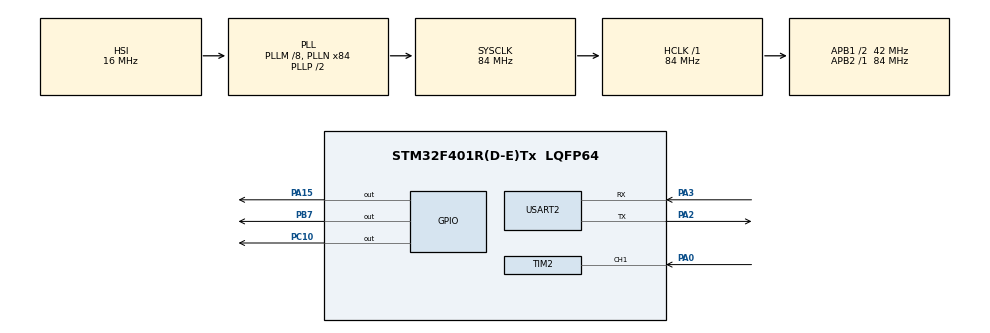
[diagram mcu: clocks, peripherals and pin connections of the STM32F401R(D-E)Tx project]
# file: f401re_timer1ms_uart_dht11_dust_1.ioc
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Mcu.Family=STM32F4
Mcu.Name=STM32F401R(D-E)Tx
Mcu.Package=LQFP64
NVIC.PriorityGroup=NVIC_PRIORITYGROUP_4
NVIC.TIM2_IRQn=true\:0\:0\:false\:false\:true\:true\:true\:true
PA0-WKUP.Signal=S_TIM2_CH1_ETR
PA15.GPIO_PuPd=GPIO_PULLUP
PA15.Signal=GPIO_Output
PA2.Mode=Asynchronous
PA2.Signal=USART2_TX
PA3.Mode=Asynchronous
PA3.Signal=USART2_RX
PB7.Signal=GPIO_Output
PC10.Signal=GPIO_Output
ProjectManager.HeapSize=0x200
ProjectManager.StackSize=0x400
ProjectManager.TargetToolchain=STM32CubeIDE
RCC.48MHZClocksFreq_Value=42000000
RCC.AHBFreq_Value=84000000
RCC.APB1CLKDivider=RCC_HCLK_DIV2
RCC.APB1Freq_Value=42000000
RCC.APB1TimFreq_Value=84000000
RCC.APB2Freq_Value=84000000
RCC.APB2TimFreq_Value=84000000
RCC.CortexFreq_Value=84000000
RCC.HCLKFreq_Value=84000000
RCC.HSE_VALUE=25000000
RCC.HSI_VALUE=16000000
RCC.LSE_VALUE=32768
RCC.PLLM=8
RCC.PLLN=84
RCC.SYSCLKFreq_VALUE=84000000
RCC.SYSCLKSource=RCC_SYSCLKSOURCE_PLLCLK
RCC.VCOOutputFreq_Value=168000000
SH.S_TIM2_CH1_ETR.0=TIM2_CH1,Input_Capture1_from_TI1
TIM2.AutoReloadPreload=TIM_AUTORELOAD_PRELOAD_ENABLE
TIM2.Channel-Input_Capture1_from_TI1=TIM_CHANNEL_1
TIM2.ICPolarity_CH1=TIM_INPUTCHANNELPOLARITY_BOTHEDGE
TIM2.Period=999
TIM2.Prescaler=83
USART2.VirtualMode=VM_ASYNC
VP_TIM2_VS_ClockSourceINT.Mode=Internal
board=custom

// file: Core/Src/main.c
/* USER CODE BEGIN Header */
/**
  ******************************************************************************
  * @file           : main.c
  * @brief          : Main program body
  ******************************************************************************
  * @attention
  *
  * Copyright (c) 2024 STMicroelectronics.
  * All rights reserved.
  *
  * This software is licensed under terms that can be found in the LICENSE file
  * in the root directory of this software component.
  * If no LICENSE file comes with this software, it is provided AS-IS.
  *
  ******************************************************************************
  */
/* USER CODE END Header */
#include "main.h"

/* USER CODE BEGIN Includes */
#define LD2_GPIO_Port GPIOC
#define LD2_Pin GPIO_PIN_10

#define DHT11_PORT GPIOA
#define DHT11_PIN GPIO_PIN_15

#define DUST_PWM_PERIOD  100 // from manufacture  (100ms)
#define K_FACTOR 1.0			//from manufacture
/* USER CODE END Includes */

TIM_HandleTypeDef htim2;

UART_HandleTypeDef huart2;

void SystemClock_Config(void);
static void MX_GPIO_Init(void);
static void MX_TIM2_Init(void);
static void MX_USART2_UART_Init(void);
/* USER CODE BEGIN PFP */
/*~timer*/
static uint16_t vSchTask_Cnt = 0;
// TIM2 주기적 인터럽트 콜백
void HAL_TIM_PeriodElapsedCallback(TIM_HandleTypeDef *htim){
	if(htim->Instance == TIM2){
		vSchTask_Cnt++;
		if(vSchTask_Cnt == 1000){
			vSchTask_Cnt = 0;
			HAL_GPIO_TogglePin(LD2_GPIO_Port, LD2_Pin);
		}

	}
} //timer

/* uart*/
char msg[60];// 온습도 메시지 저장 버퍼
char msg2[60];
char msg3[60];
//char msg4[50];
//char msg5[50];
//char msg6[50];
//char msg7[50];
char msg8[50];
// UART 메시지 전송 함수
void send_uart_msg(char *msg)
{
	HAL_UART_Transmit(&huart2,(uint8_t*)msg, strlen(msg), HAL_MAX_DELAY);
}
/* dht11*/
/* DHT11 센서 관련 변수 */
uint8_t Rh_Byte1, Rh_Byte2, Temp_Byte1, Temp_Byte2;
uint16_t SUM, RH, TEMP;

float Temperature = 0;
float Humidity = 0;
uint8_t Presence = 0;
// GPIO 핀을 출력으로 설정
void set_pin_output (GPIO_TypeDef *GPIOx, uint16_t GPIO_Pin)
{
	GPIO_InitTypeDef GPIO_InitStruct = {0};
	GPIO_InitStruct.Pin = GPIO_Pin;
	GPIO_InitStruct.Mode = GPIO_MODE_OUTPUT_PP;
	GPIO_InitStruct.Speed = GPIO_SPEED_FREQ_LOW;
	HAL_GPIO_Init(GPIOx, &GPIO_InitStruct);
}
// GPIO 핀을 입력으로 설정
void set_pin_input (GPIO_TypeDef *GPIOx, uint16_t GPIO_Pin)
{
	GPIO_InitTypeDef GPIO_InitStruct = {0};
	GPIO_InitStruct.Pin = GPIO_Pin;
	GPIO_InitStruct.Mode = GPIO_MODE_INPUT;
	GPIO_InitStruct.Pull = GPIO_PULLUP;
	HAL_GPIO_Init(GPIOx, &GPIO_InitStruct);
}
// 마이크로초 단위 딜레이 함수
void delay_us (uint16_t us)
{
	__HAL_TIM_SET_COUNTER(&htim2,0);
	while(__HAL_TIM_GET_COUNTER(&htim2) <us);
}

/*	DHT11 start signal*/
/* DHT11 센서 시작 신호 전송 */
void dht11_start(void)
{
	set_pin_output(DHT11_PORT, DHT11_PIN);

	HAL_GPIO_WritePin(DHT11_PORT, DHT11_PIN,0);

//	delay_us(18000); //wait for 18ms
	  HAL_Delay(18);

	HAL_GPIO_WritePin(DHT11_PORT, DHT11_PIN,1);

	delay_us(20);
	set_pin_input(DHT11_PORT, DHT11_PIN);
}

/*	DHT11 response */
/* DHT11 센서 응답 확인 */
uint8_t dht11_check_response(void)
{
	uint8_t resp =0;
	delay_us(40);
	if(!(HAL_GPIO_ReadPin(DHT11_PORT,DHT11_PIN)))
	{
		delay_us(80);
		if((HAL_GPIO_ReadPin(DHT11_PORT,DHT11_PIN)))
			resp =1;
		else
			resp = -1; //255
	}
	while(HAL_GPIO_ReadPin(DHT11_PORT,DHT11_PIN));

	return resp;
}
/* DHT11 데이터 읽기 */
uint8_t dht11_read(void)
{
    uint8_t i, j;
    for (j = 0; j < 8; j++)
    {
        uint32_t timeout = 10000;
        while (!(HAL_GPIO_ReadPin(DHT11_PORT, DHT11_PIN)) && timeout--)
            ; //
        if (timeout == 0) return 0xFF; //

        delay_us(40);
        if (!(HAL_GPIO_ReadPin(DHT11_PORT, DHT11_PIN)))
        {
            i &= ~(1 << (7 - j)); // 0 기록
        }
        else
        {
            i |= (1 << (7 - j));
            timeout = 10000;
            while ((HAL_GPIO_ReadPin(DHT11_PORT, DHT11_PIN)) && timeout--)
                ;
            if (timeout == 0) return 0xFF;
        }
    }
    return i;
} // DHT11 sensor

/*dust sensor */
uint32_t IC_Val1 = 0;
uint32_t IC_Val2 =0;

float frequency =0;
float dutyCycle =0;

uint32_t pwm_start = 0;
uint32_t pwm_end = 0;
uint32_t pulse_width = 0;
/* 먼지 센서용 PWM 값 처리 */
HAL_TIM_IC_CaptureCallback(TIM_HandleTypeDef *htim)
{
	/*if interrupt source is channel1*/
#if 0
	if(htim->Channel == HAL_TIM_ACTIVE_CHANNEL_1)
	{
		IC_Val1 = HAL_TIM_ReadCapturedValue(htim, TIM_CHANNEL_1);

		TIM2->CNT =0;
	}
#elif 0  /* pin 1ea : check only two rising edge for period width(T)*/
		//but dust sensor formular need low state  time
    if (htim->Channel == HAL_TIM_ACTIVE_CHANNEL_1)
    {

        if (pwm_start == 0)
        {
            pwm_start = HAL_TIM_ReadCapturedValue(htim, TIM_CHANNEL_1);
        }
        else
        {

            pwm_end = HAL_TIM_ReadCapturedValue(htim, TIM_CHANNEL_1);

            if (pwm_end > pwm_start)
            {
                pulse_width = pwm_end - pwm_start;
            }
            else
            {

                pulse_width = (htim->Init.Period - pwm_start) + pwm_end;
            }

            pwm_start = 0;
        }
    }
	/*if interrupt source is channel2*/
	if(htim->Channel == HAL_TIM_ACTIVE_CHANNEL_2) //
	{
		IC_Val2 = HAL_TIM_ReadCapturedValue(htim,TIM_CHANNEL_2);
		dutyCycle= (float)IC_Val2/(float)IC_Val1 *100;
		frequency = 1000000/ (float)IC_Val1;
	}
#elif 0 /*pin 2ea : check rising edge and falling edge for low state time*/
    static uint32_t falling_edge =0;
    static uint32_t rising_edge =0;

    if(htim->Channel == HAL_TIM_ACTIVE_CHANNEL_1)
    {
    	rising_edge = HAL_TIM_ReadCapturedValue(htim,TIM_CHANNEL_1);

    }
    else if(htim->Channel == HAL_TIM_ACTIVE_CHANNEL_2)
    {
    	falling_edge = HAL_TIM_ReadCapturedValue(htim,TIM_CHANNEL_2);

    	if(falling_edge> rising_edge)
    	{
    		pulse_width = falling_edge -rising_edge;
    		//tiem of low->high , this is  low state duration
    	}
    	else
    	{
    		pulse_width = (htim->Init.Period - rising_edge) + falling_edge;
    	}

    }
#elif 1 /*pin 1ea : check rising, falling edge*/
    static uint32_t last_capture =0;
    static uint8_t is_high_edge =0;

    if(htim->Channel == HAL_TIM_ACTIVE_CHANNEL_1)
    {
    	uint32_t current_capture = HAL_TIM_ReadCapturedValue(htim,TIM_CHANNEL_1);
    	if(is_high_edge ==0 )
    	{
    		/*check falling edge*/
    		is_high_edge =1;
    		if(current_capture >= last_capture)
    		{
    			pulse_width = current_capture - last_capture; //low ?��?��
    		}
    		else
    		{
    			//timer overflow process
    			pulse_width = (htim->Init.Period - last_capture) + current_capture;
    		}
//    		snprintf(msg8, sizeof(msg8), "Low Duration: %d us\r\n", (int)pulse_width);
//    		send_uart_msg(msg8);
    	}
    	else
    	{
    		/*check  uprising edge*/
    		is_high_edge =0;
    		//compare current rising edge with next falling edge
    	}
    	last_capture = current_capture;
    }
#endif

}
/* 먼지 농도 계산 함수 */
float calculate_dust_density(uint32_t low_duration, uint32_t period, float k_factor)
{
	float ratio = (float)low_duration /  (float)period;
	// 200/100ms
	float dust_density = k_factor * ratio;

	return dust_density;
}
//dust sensor
/* USER CODE END PFP */

int main(void)
{

  /* MCU Configuration--------------------------------------------------------*/

  /* Reset of all peripherals, Initializes the Flash interface and the Systick. */
  HAL_Init();

  /* Configure the system clock */
  SystemClock_Config();

  /* Initialize all configured peripherals */
  MX_GPIO_Init();
  MX_TIM2_Init();
  MX_USART2_UART_Init();
  /* USER CODE BEGIN 2 */
  HAL_TIM_Base_Start_IT(&htim2);
  HAL_TIM_IC_Start_IT(&htim2, TIM_CHANNEL_1);
  HAL_TIM_IC_Start_IT(&htim2, TIM_CHANNEL_2);

   //send_uart_msg("init1\r\n");

  /* USER CODE END 2 */

  /* Infinite loop */
  /* USER CODE BEGIN WHILE */
  while (1)
  {

	  dht11_start();// DHT11 센서 시작

	  Presence = dht11_check_response();// DHT11 응답 확인

		Rh_Byte1 = dht11_read();// 습도 데이터 읽기
		Rh_Byte2 = dht11_read();
		Temp_Byte1 = dht11_read();// 온도 데이터 읽기
		Temp_Byte2 = dht11_read();
		SUM = dht11_read();// 데이터 합계 읽기

		RH = (int)Rh_Byte1;
		TEMP = (int)Temp_Byte1;

		// UART로 데이터 전송
		// snprintf(msg, sizeof(msg), "RH = %d %%\r\n", RH);
		snprintf(msg, sizeof(msg), "%d,", RH);
		send_uart_msg(msg);
		//snprintf(msg2, sizeof(msg2), "temp = %d `C%%\r\n", TEMP);
		snprintf(msg2, sizeof(msg2), "%d,", TEMP);
		send_uart_msg(msg2);

		// 먼지 농도 계산 및 UART 전송
		/*pwm ic*/
        float dust_concentration_g_m3 = calculate_dust_density(pulse_width, DUST_PWM_PERIOD, K_FACTOR);
        float dust_concentration_ug_m3 = dust_concentration_g_m3 ;// convert g/m^3 to ug/m^3
        //snprintf(msg3, sizeof(msg3), "Dust Density : %.2f ug/m^3\r\n", dust_concentration_ug_m3);
        snprintf(msg3, sizeof(msg3), "%.2f\r\n", dust_concentration_ug_m3);
        send_uart_msg(msg3);

        HAL_Delay(2000);

    /* USER CODE END WHILE */

  }
}

void SystemClock_Config(void)
{
  RCC_OscInitTypeDef RCC_OscInitStruct = {0};
  RCC_ClkInitTypeDef RCC_ClkInitStruct = {0};

  /** Configure the main internal regulator output voltage
  */
  __HAL_RCC_PWR_CLK_ENABLE();
  __HAL_PWR_VOLTAGESCALING_CONFIG(PWR_REGULATOR_VOLTAGE_SCALE2);

  /** Initializes the RCC Oscillators according to the specified parameters
  * in the RCC_OscInitTypeDef structure.
  */
  RCC_OscInitStruct.OscillatorType = RCC_OSCILLATORTYPE_HSI;
  RCC_OscInitStruct.HSIState = RCC_HSI_ON;
  RCC_OscInitStruct.HSICalibrationValue = RCC_HSICALIBRATION_DEFAULT;
  RCC_OscInitStruct.PLL.PLLState = RCC_PLL_ON;
  RCC_OscInitStruct.PLL.PLLSource = RCC_PLLSOURCE_HSI;
  RCC_OscInitStruct.PLL.PLLM = 8;
  RCC_OscInitStruct.PLL.PLLN = 84;
  RCC_OscInitStruct.PLL.PLLP = RCC_PLLP_DIV2;
  RCC_OscInitStruct.PLL.PLLQ = 4;
  if (HAL_RCC_OscConfig(&RCC_OscInitStruct) != HAL_OK)
  {
    Error_Handler();
  }

  /** Initializes the CPU, AHB and APB buses clocks
  */
  RCC_ClkInitStruct.ClockType = RCC_CLOCKTYPE_HCLK|RCC_CLOCKTYPE_SYSCLK
                              |RCC_CLOCKTYPE_PCLK1|RCC_CLOCKTYPE_PCLK2;
  RCC_ClkInitStruct.SYSCLKSource = RCC_SYSCLKSOURCE_PLLCLK;
  RCC_ClkInitStruct.AHBCLKDivider = RCC_SYSCLK_DIV1;
  RCC_ClkInitStruct.APB1CLKDivider = RCC_HCLK_DIV2;
  RCC_ClkInitStruct.APB2CLKDivider = RCC_HCLK_DIV1;

  if (HAL_RCC_ClockConfig(&RCC_ClkInitStruct, FLASH_LATENCY_2) != HAL_OK)
  {
    Error_Handler();
  }
}

static void MX_TIM2_Init(void)
{

  TIM_ClockConfigTypeDef sClockSourceConfig = {0};
  TIM_MasterConfigTypeDef sMasterConfig = {0};
  TIM_IC_InitTypeDef sConfigIC = {0};

  htim2.Instance = TIM2;
  htim2.Init.Prescaler = 83;
  htim2.Init.CounterMode = TIM_COUNTERMODE_UP;
  htim2.Init.Period = 999;
  htim2.Init.ClockDivision = TIM_CLOCKDIVISION_DIV1;
  htim2.Init.AutoReloadPreload = TIM_AUTORELOAD_PRELOAD_ENABLE;
  if (HAL_TIM_Base_Init(&htim2) != HAL_OK)
  {
    Error_Handler();
  }
  sClockSourceConfig.ClockSource = TIM_CLOCKSOURCE_INTERNAL;
  if (HAL_TIM_ConfigClockSource(&htim2, &sClockSourceConfig) != HAL_OK)
  {
    Error_Handler();
  }
  if (HAL_TIM_IC_Init(&htim2) != HAL_OK)
  {
    Error_Handler();
  }
  sMasterConfig.MasterOutputTrigger = TIM_TRGO_RESET;
  sMasterConfig.MasterSlaveMode = TIM_MASTERSLAVEMODE_DISABLE;
  if (HAL_TIMEx_MasterConfigSynchronization(&htim2, &sMasterConfig) != HAL_OK)
  {
    Error_Handler();
  }
  sConfigIC.ICPolarity = TIM_INPUTCHANNELPOLARITY_BOTHEDGE;
  sConfigIC.ICSelection = TIM_ICSELECTION_DIRECTTI;
  sConfigIC.ICPrescaler = TIM_ICPSC_DIV1;
  sConfigIC.ICFilter = 0;
  if (HAL_TIM_IC_ConfigChannel(&htim2, &sConfigIC, TIM_CHANNEL_1) != HAL_OK)
  {
    Error_Handler();
  }

}

static void MX_USART2_UART_Init(void)
{

  huart2.Instance = USART2;
  huart2.Init.BaudRate = 115200;
  huart2.Init.WordLength = UART_WORDLENGTH_8B;
  huart2.Init.StopBits = UART_STOPBITS_1;
  huart2.Init.Parity = UART_PARITY_NONE;
  huart2.Init.Mode = UART_MODE_TX_RX;
  huart2.Init.HwFlowCtl = UART_HWCONTROL_NONE;
  huart2.Init.OverSampling = UART_OVERSAMPLING_16;
  if (HAL_UART_Init(&huart2) != HAL_OK)
  {
    Error_Handler();
  }

}

static void MX_GPIO_Init(void)
{
  GPIO_InitTypeDef GPIO_InitStruct = {0};

  /* GPIO Ports Clock Enable */
  __HAL_RCC_GPIOA_CLK_ENABLE();
  __HAL_RCC_GPIOC_CLK_ENABLE();
  __HAL_RCC_GPIOB_CLK_ENABLE();

  /*Configure GPIO pin Output Level */
  HAL_GPIO_WritePin(GPIOA, GPIO_PIN_15, GPIO_PIN_RESET);

  /*Configure GPIO pin Output Level */
  HAL_GPIO_WritePin(GPIOC, GPIO_PIN_10, GPIO_PIN_RESET);

  /*Configure GPIO pin Output Level */
  HAL_GPIO_WritePin(GPIOB, GPIO_PIN_7, GPIO_PIN_RESET);

  /*Configure GPIO pin : PA15 */
  GPIO_InitStruct.Pin = GPIO_PIN_15;
  GPIO_InitStruct.Mode = GPIO_MODE_OUTPUT_PP;
  GPIO_InitStruct.Pull = GPIO_PULLUP;
  GPIO_InitStruct.Speed = GPIO_SPEED_FREQ_LOW;
  HAL_GPIO_Init(GPIOA, &GPIO_InitStruct);

  /*Configure GPIO pin : PC10 */
  GPIO_InitStruct.Pin = GPIO_PIN_10;
  GPIO_InitStruct.Mode = GPIO_MODE_OUTPUT_PP;
  GPIO_InitStruct.Pull = GPIO_NOPULL;
  GPIO_InitStruct.Speed = GPIO_SPEED_FREQ_LOW;
  HAL_GPIO_Init(GPIOC, &GPIO_InitStruct);

  /*Configure GPIO pin : PB7 */
  GPIO_InitStruct.Pin = GPIO_PIN_7;
  GPIO_InitStruct.Mode = GPIO_MODE_OUTPUT_PP;
  GPIO_InitStruct.Pull = GPIO_NOPULL;
  GPIO_InitStruct.Speed = GPIO_SPEED_FREQ_LOW;
  HAL_GPIO_Init(GPIOB, &GPIO_InitStruct);

}

void Error_Handler(void)
{
  __disable_irq();
  while (1)
  {
  }
}
